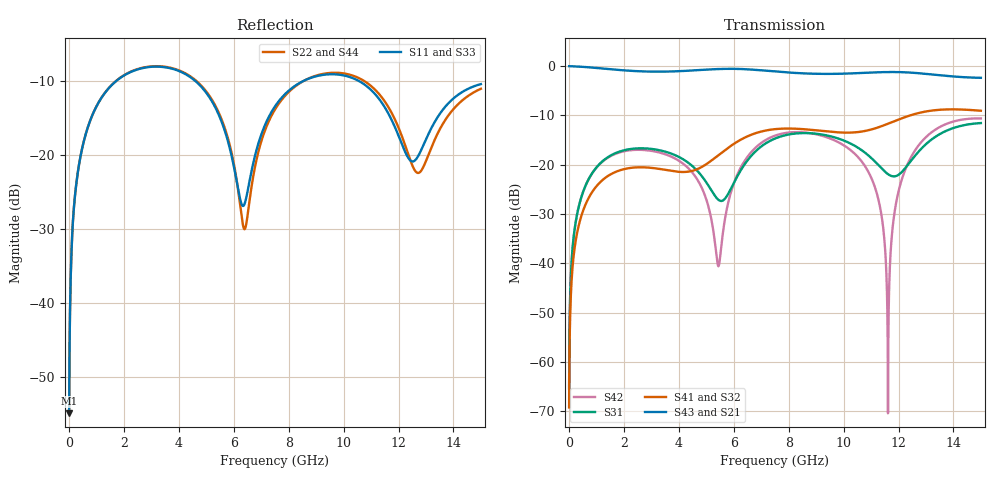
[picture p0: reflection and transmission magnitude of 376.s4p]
! Created with skrf 1.8.0 (http://scikit-rf.org).
# GHz S RI R 50.0
!freq ReS11 ImS11 ReS12 ImS12 ReS13 ImS13
! ReS14 ImS14
! ReS21 ImS21 ReS22 ImS22 ReS23 ImS23
! ReS24 ImS24
! ReS31 ImS31 ReS32 ImS32 ReS33 ImS33
! ReS34 ImS34
! ReS41 ImS41 ReS42 ImS42 ReS43 ImS43
! ReS44 ImS44
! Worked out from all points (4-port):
!   2499 points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, 5 MHz to 15 GHz, reference 50 ohm
!   strongest paths, dB at 5 MHz, 3.476 GHz, 7.19 GHz, 11.1 GHz, 15 GHz:
!     S43: 0.0, -1.1, -0.9, -1.3, -2.4
!     S21: 0.0, -1.1, -0.9, -1.3, -2.4
!     S41: -69.2, -21.0, -13.0, -12.7, -9.0
!     S32: -69.2, -21.1, -13.1, -12.7, -9.1
!     S31: -65.4, -17.3, -15.6, -19.1, -11.6
!     S42: -65.4, -17.8, -14.9, -23.9, -10.6
!   lowest |S11| = -55.0 dB at 5 MHz (marker M1), VSWR 1.00, Z = 50.1 + j0.109 ohm
!   |S11| at or under -10 dB: start of sweep to 1.706 GHz; 4.614 GHz to 8.51 GHz (3.896 GHz wide, 59.4 % of centre); 10.58 GHz to end of sweep
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0.005  0.00142 0.00108  0.9986 -0.00276  6.97e-05 0.000535  -6.78e-05 -0.000339
       0.9986 -0.00276  0.00142 0.00108  -6.78e-05 -0.000339  6.96e-05 0.000535
       6.97e-05 0.000535  -6.78e-05 -0.000339  0.00142 0.00108  0.9986 -0.00276
       -6.78e-05 -0.000339  6.96e-05 0.000535  0.9986 -0.00276  0.00142 0.00108
1.519383  0.2203 0.1938  0.6501 -0.664  0.106 0.0647  -0.077 -0.0215
          0.6501 -0.664  0.2222 0.1929  -0.0769 -0.0216  0.0991 0.0718
          0.106 0.0647  -0.0769 -0.0216  0.2203 0.1937  0.6502 -0.6639
          -0.077 -0.0215  0.0991 0.0718  0.6502 -0.6639  0.2221 0.1929
5.439767  0.1148 -0.152  -0.8044 -0.4736  -0.036 -0.0255  -0.059 0.11
          -0.8044 -0.4736  0.1064 -0.1652  -0.0602 0.1093  0.00865 0.00355
          -0.036 -0.0255  -0.0602 0.1093  0.114 -0.1511  -0.8047 -0.4736
          -0.059 0.11  0.00865 0.00355  -0.8047 -0.4736  0.1058 -0.1642
6.352647  0.0453 -0.000844  -0.9309 -0.0459  -0.0206 0.0946  -0.0041 0.1854
          -0.9309 -0.0459  0.0307 -0.0108  -0.00594 0.1853  0.0254 0.1013
          -0.0206 0.0946  -0.00594 0.1853  0.0454 0.000564  -0.931 -0.0458
          -0.0041 0.1854  0.0254 0.1013  -0.931 -0.0458  0.0304 -0.00971
10.41684  0.3097 -0.1061  0.2322 0.813  0.088 -0.1276  0.1837 -0.1079
          0.2322 0.813  0.3201 -0.1183  0.1849 -0.1033  0.1054 -0.0733
          0.088 -0.1276  0.1849 -0.1033  0.3083 -0.1069  0.2311 0.814
          0.1837 -0.1079  0.1054 -0.0733  0.2311 0.814  0.3183 -0.1156
11.61734  0.1484 -0.124  0.6664 0.5591  -0.0591 -0.0543  0.1587 -0.2066
          0.6664 0.5591  0.1495 -0.1527  0.1634 -0.2026  -0.000263 -0.000148
          -0.0591 -0.0543  0.1634 -0.2026  0.1456 -0.1227  0.6661 0.5606
          0.1587 -0.2066  -0.000263 -0.000148  0.6661 0.5606  0.1487 -0.1495
15  0.3004 0.0382  0.4573 -0.6074  0.2593 0.0523  -0.3323 -0.1186
    0.4573 -0.6074  0.2764 0.0535  -0.3266 -0.1252  0.2917 0.0405
    0.2593 0.0523  -0.3266 -0.1252  0.3033 0.0381  0.4608 -0.6053
    -0.3323 -0.1186  0.2917 0.0405  0.4608 -0.6053  0.2707 0.0565
